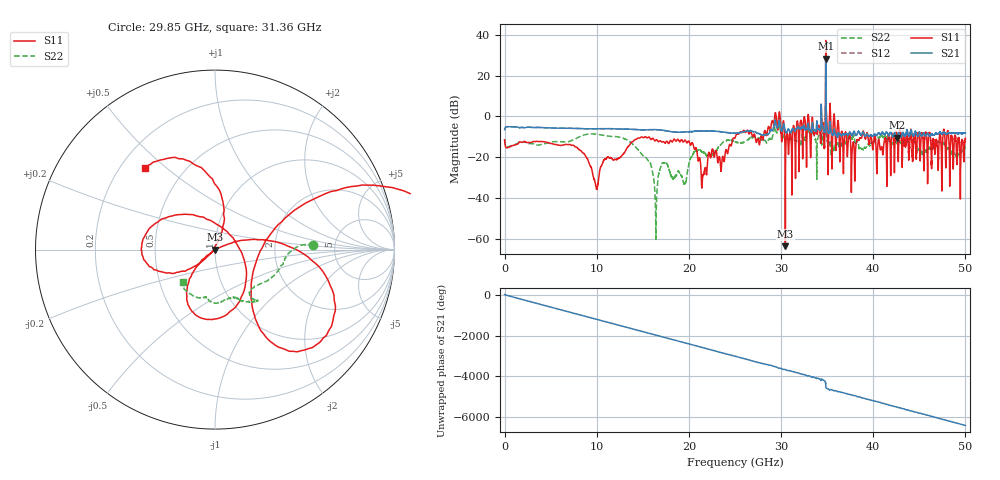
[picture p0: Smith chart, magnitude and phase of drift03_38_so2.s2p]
!Created with skrf (http://scikit-rf.org).
# Hz S RI R 50.0
!freq ReS11 ImS11 ReS21 ImS21 ReS12 ImS12 ReS22 ImS22
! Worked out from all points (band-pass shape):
!   10001 points, 300 kHz to 50 GHz, reference 50 ohm
!   highest |S21| = 28.38 dB at 34.85 GHz (marker M1); lowest = -10.4 dB at 42.56 GHz (marker M2)
!   |S21| within 3 dB of the highest: 34.84389 GHz to 34.846 GHz (2.108 MHz wide, 0.00605 % of centre)
!   lowest |S11| = -63.7 dB at 30.47 GHz (marker M3), VSWR 1.00, Z = 50 - j0.0557 ohm
!   |S11| at or under -10 dB: start of sweep to 15.23 GHz; 15.32 GHz to 25.05 GHz (9.733 GHz wide, 48.2 % of centre); 40.22 GHz to 41.62 GHz (1.395 GHz wide, 3.41 % of centre) (the widest 3 of 53)
!   |S22| runs from -60.3 to 19.3 dB; largest |S21 - S12| = 3.6
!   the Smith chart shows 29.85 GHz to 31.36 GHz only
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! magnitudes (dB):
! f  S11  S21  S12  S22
! 300 kHz  -11.5  -6.5  -6.5  -11.4
! 8.335 GHz  -17.1  -6.0  -6.0  -9.6
! 9.955 GHz  -35.5  -6.1  -6.1  -8.7
! 11 GHz  -20.9  -6.0  -6.0  -9.5
! 13.95 GHz  -12.2  -6.4  -6.3  -13.8
! 16.36 GHz  -11.9  -6.5  -6.5  -42.5
! 16.67 GHz  -12.4  -6.5  -6.5  -29.6
! 17.34 GHz  -12.7  -6.9  -6.9  -23.0
! 19.55 GHz  -11.7  -7.7  -7.7  -32.9
! 20.21 GHz  -13.9  -7.5  -7.5  -20.3
! 21.55 GHz  -28.5  -7.2  -7.2  -17.9
! 25 GHz  -10.6  -8.3  -8.2  -12.5
! 29.6 GHz  -5.5  -5.7  -5.9  -7.8
! 30.47 GHz  -63.7  -7.2  -7.2  -9.0
! 33.34 GHz  -3.8  -6.9  -6.8  -9.3
! 34.85 GHz  37.3  28.4  28.2  19.3
! 35.63 GHz  -6.6  -9.2  -9.1  -16.1
! 37.82 GHz  -12.7  -8.4  -8.4  -10.0
! 38.81 GHz  -9.1  -8.3  -8.3  -16.1
! 41.67 GHz  -9.4  -9.5  -9.4  -11.4
! 42.56 GHz  -8.3  -10.4  -10.4  -13.3
! 50 GHz  -10.9  -8.2  -8.3  -15.5
